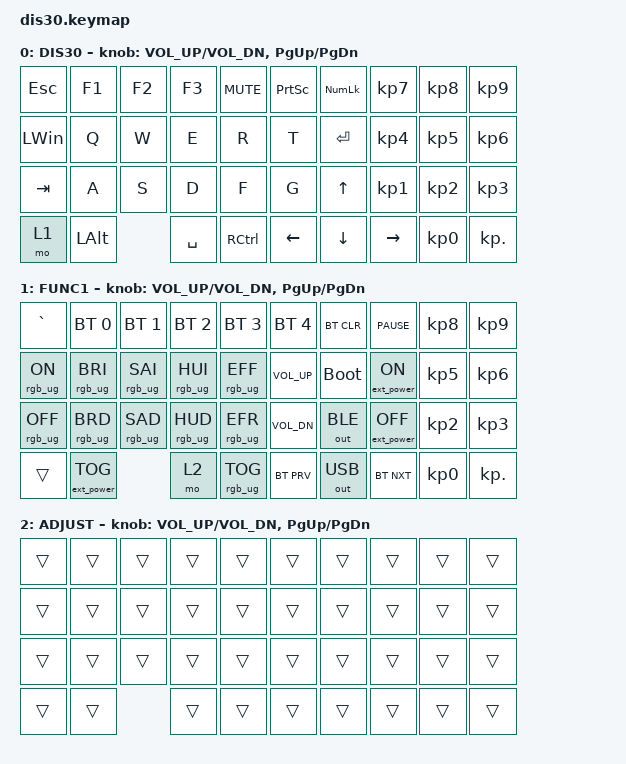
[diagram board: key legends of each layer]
/*
 * Copyright (c) 2021 Nick Winans
 *
 * SPDX-License-Identifier: MIT
 */

#include <behaviors.dtsi>
#include <dt-bindings/zmk/bt.h>
#include <dt-bindings/zmk/ext_power.h>
#include <dt-bindings/zmk/keys.h>
#include <dt-bindings/zmk/outputs.h>
#include <dt-bindings/zmk/rgb.h>

/ {
    keymap {
        compatible = "zmk,keymap";

        default_layer {
            label = " DIS30";
            bindings = <
&kp ESC       &kp F1    &kp F2  &kp F3     &kp C_MUTE  &kp PRINTSCREEN  &kp KP_NUM  &kp KP_N7  &kp KP_N8  &kp KP_N9
&kp LEFT_WIN  &kp Q     &kp W   &kp E      &kp R       &kp T            &kp RET     &kp KP_N4  &kp KP_N5  &kp KP_N6
&kp TAB       &kp A     &kp S   &kp D      &kp F       &kp G            &kp UP      &kp KP_N1  &kp KP_N2  &kp KP_N3
&mo 1         &kp LALT          &kp SPACE  &kp RCTRL   &kp LEFT         &kp DOWN    &kp RIGHT  &kp KP_N0  &kp KP_DOT
            >;

            sensor-bindings = <&inc_dec_kp C_VOL_UP C_VOL_DN &inc_dec_kp PG_UP PG_DN>;
        };

        lower_layer {
            // -------------------------------------------------------------------------------------
            // | F1  | F2  | F3  | F4  | F5  | F6  | F7  | F8  | F9  | F10 | F11 | F12 |     |
            // | N1  | N2  | N3  | N4  | N5  | N6  | N7  | N8  | N9  | N0  |  -  |
            // |     |     |     |     |     |     |     |     |     |     |     |
            // |     |     |     |     |     |     |

            label = " FUNC1";
            bindings = <
&kp GRAVE        &bt BT_SEL 0       &bt BT_SEL 1     &bt BT_SEL 2     &bt BT_SEL 3     &bt BT_SEL 4     &bt BT_CLR    &kp C_PAUSE        &kp KP_N8  &kp KP_N9
&rgb_ug RGB_ON   &rgb_ug RGB_BRI    &rgb_ug RGB_SAI  &rgb_ug RGB_HUI  &rgb_ug RGB_EFF  &kp C_VOLUME_UP  &bootloader   &ext_power EP_ON   &kp KP_N5  &kp KP_N6
&rgb_ug RGB_OFF  &rgb_ug RGB_BRD    &rgb_ug RGB_SAD  &rgb_ug RGB_HUD  &rgb_ug RGB_EFR  &kp C_VOL_DN     &out OUT_BLE  &ext_power EP_OFF  &kp KP_N2  &kp KP_N3
&trans           &ext_power EP_TOG                   &mo 2            &rgb_ug RGB_TOG  &bt BT_PRV       &out OUT_USB  &bt BT_NXT         &kp KP_N0  &kp KP_DOT
            >;

            sensor-bindings = <&inc_dec_kp C_VOL_UP C_VOL_DN &inc_dec_kp PG_UP PG_DN>;
        };

        adjust_layer {
            // -------------------------------------------------------------------------------------
            // | RGB BRI+ | RGB SAT+ | RGB HUE+ | RGB ANI+ | RGB TOG |  BT1  |  BT2  |  BT3  |  BT4  |  BT5  | BT CLR |     |     |
            // | RGB BRI- | RGB SAT- | RGB HUE- | RGB ANI- |         |       |       |       |       |       |        |
            // |  RESET   |          |          |          |         |       |       |       |       |       |        |
            // |          |          |                 SPACE                 | BT_PRV|       | BT_NXT|

            label = "ADJUST";
            bindings = <
&trans  &trans  &trans  &trans  &trans  &trans  &trans  &trans  &trans  &trans
&trans  &trans  &trans  &trans  &trans  &trans  &trans  &trans  &trans  &trans
&trans  &trans  &trans  &trans  &trans  &trans  &trans  &trans  &trans  &trans
&trans  &trans          &trans  &trans  &trans  &trans  &trans  &trans  &trans
            >;

            sensor-bindings = <&inc_dec_kp C_VOL_UP C_VOL_DN &inc_dec_kp PG_UP PG_DN>;
        };
    };
};
